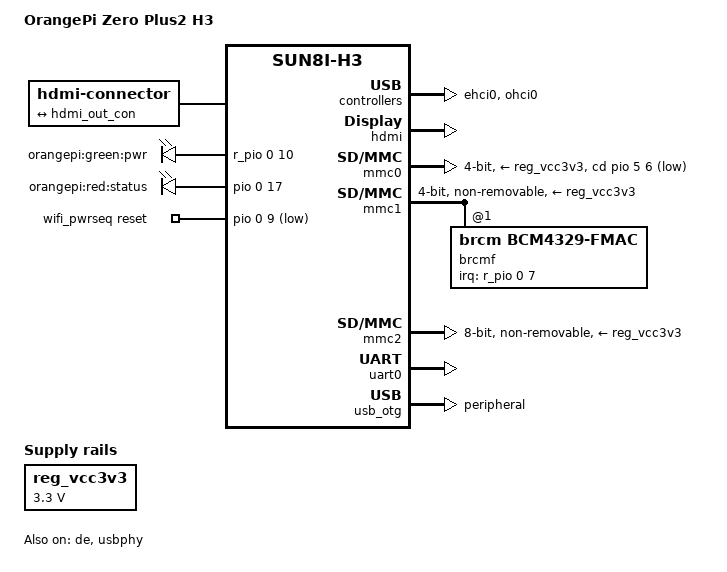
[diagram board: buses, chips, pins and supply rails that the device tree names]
/*
 * Copyright (C) 2017 Jagan Teki <jteki@openedev.com>
 * Copyright (C) 2018 Diego Rondini <diego.rondini@kynetics.com>
 *
 * This file is dual-licensed: you can use it either under the terms
 * of the GPL or the X11 license, at your option. Note that this dual
 * licensing only applies to this file, and not this project as a
 * whole.
 *
 *  a) This file is free software; you can redistribute it and/or
 *     modify it under the terms of the GNU General Public License as
 *     published by the Free Software Foundation; either version 2 of the
 *     License, or (at your option) any later version.
 *
 *     This file is distributed in the hope that it will be useful,
 *     but WITHOUT ANY WARRANTY; without even the implied warranty of
 *     MERCHANTABILITY or FITNESS FOR A PARTICULAR PURPOSE.  See the
 *     GNU General Public License for more details.
 *
 * Or, alternatively,
 *
 *  b) Permission is hereby granted, free of charge, to any person
 *     obtaining a copy of this software and associated documentation
 *     files (the "Software"), to deal in the Software without
 *     restriction, including without limitation the rights to use,
 *     copy, modify, merge, publish, distribute, sublicense, and/or
 *     sell copies of the Software, and to permit persons to whom the
 *     Software is furnished to do so, subject to the following
 *     conditions:
 *
 *     The above copyright notice and this permission notice shall be
 *     included in all copies or substantial portions of the Software.
 *
 *     THE SOFTWARE IS PROVIDED "AS IS", WITHOUT WARRANTY OF ANY KIND,
 *     EXPRESS OR IMPLIED, INCLUDING BUT NOT LIMITED TO THE WARRANTIES
 *     OF MERCHANTABILITY, FITNESS FOR A PARTICULAR PURPOSE AND
 *     NONINFRINGEMENT. IN NO EVENT SHALL THE AUTHORS OR COPYRIGHT
 *     HOLDERS BE LIABLE FOR ANY CLAIM, DAMAGES OR OTHER LIABILITY,
 *     WHETHER IN AN ACTION OF CONTRACT, TORT OR OTHERWISE, ARISING
 *     FROM, OUT OF OR IN CONNECTION WITH THE SOFTWARE OR THE USE OR
 *     OTHER DEALINGS IN THE SOFTWARE.
 */

/dts-v1/;

#include "sun8i-h3.dtsi"

#include <dt-bindings/gpio/gpio.h>

/ {
	model = "OrangePi Zero Plus2 H3";
	compatible = "xunlong,orangepi-zero-plus2-h3", "allwinner,sun8i-h3";

	aliases {
		serial0 = &uart0;
	};

	chosen {
		stdout-path = "serial0:115200n8";
	};

	connector {
		compatible = "hdmi-connector";
		type = "a";

		port {
			hdmi_con_in: endpoint {
				remote-endpoint = <&hdmi_out_con>;
			};
		};
	};

	leds {
		compatible = "gpio-leds";

		led-0 {
			label = "orangepi:green:pwr";
			gpios = <&r_pio 0 10 GPIO_ACTIVE_HIGH>;
			default-state = "on";
		};

		led-1 {
			label = "orangepi:red:status";
			gpios = <&pio 0 17 GPIO_ACTIVE_HIGH>;
		};
	};

	reg_vcc3v3: vcc3v3 {
		compatible = "regulator-fixed";
		regulator-name = "vcc3v3";
		regulator-min-microvolt = <3300000>;
		regulator-max-microvolt = <3300000>;
	};

	wifi_pwrseq: wifi_pwrseq {
		compatible = "mmc-pwrseq-simple";
		reset-gpios = <&pio 0 9 GPIO_ACTIVE_LOW>; /* PA9 */
		post-power-on-delay-ms = <200>;
	};
};

&de {
	status = "okay";
};

&ehci0 {
	status = "okay";
};

&hdmi {
	status = "okay";
};

&hdmi_out {
	hdmi_out_con: endpoint {
		remote-endpoint = <&hdmi_con_in>;
	};
};

&mmc0 {
	vmmc-supply = <&reg_vcc3v3>;
	bus-width = <4>;
	cd-gpios = <&pio 5 6 GPIO_ACTIVE_LOW>;
	status = "okay";
};

&mmc1 {
	vmmc-supply = <&reg_vcc3v3>;
	vqmmc-supply = <&reg_vcc3v3>;
	mmc-pwrseq = <&wifi_pwrseq>;
	bus-width = <4>;
	non-removable;
	status = "okay";

	brcmf: wifi@1 {
		reg = <1>;
		compatible = "brcm,bcm4329-fmac";
		interrupt-parent = <&r_pio>;
		interrupts = <0 7 IRQ_TYPE_LEVEL_LOW>;	/* PL7 */
		interrupt-names = "host-wake";
	};
};

&mmc2 {
	pinctrl-names = "default";
	pinctrl-0 = <&mmc2_8bit_pins>;
	vmmc-supply = <&reg_vcc3v3>;
	bus-width = <8>;
	non-removable;
	cap-mmc-hw-reset;
	status = "okay";
};

&ohci0 {
	status = "okay";
};

&uart0 {
	pinctrl-names = "default";
	pinctrl-0 = <&uart0_pa_pins>;
	status = "okay";
};

&usb_otg {
	/*
	 * According to schematics CN1 MicroUSB port can be used to take
	 * external 5V to power up the board VBUS. On the contrary CN1 MicroUSB
	 * port cannot provide power externally even if the board is powered
	 * via GPIO pins. It thus makes sense to force peripheral mode.
	 */
	dr_mode = "peripheral";
	status = "okay";
};

&usbphy {
	status = "okay";
};
